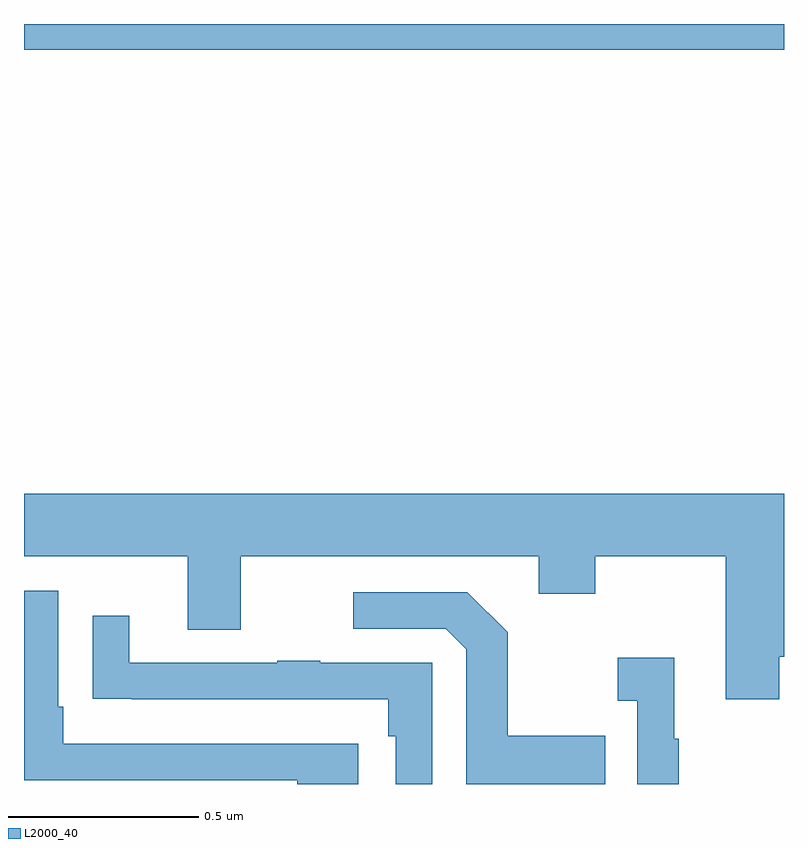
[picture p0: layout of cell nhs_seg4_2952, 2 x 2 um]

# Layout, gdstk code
import gdstk
lib = gdstk.Library(unit=1e-6, precision=1e-09)
def R(c, l, rs):  # rectangles x0, y0, x1, y1
    for r in rs: c.add(gdstk.rectangle(r[:2], r[2:], *l))
def P(c, l, *ps):  # polygons
    for p in ps: c.add(gdstk.Polygon(p, *l))
L2000_40 = (2000, 40)

nhs_seg4_2952 = lib.new_cell('nhs_seg4_2952')
R(nhs_seg4_2952, L2000_40, [(147,784.832,149,784.9)])
P(nhs_seg4_2952, L2000_40, [(148.987,783.235),(149,783.235),(149,783.664),(147,783.664),(147,783.5),(147.431,783.5),(147.431,783.306),(147.571,783.306),(147.571,783.5),(148.355,783.5),(148.355,783.401),(148.503,783.401),(148.503,783.5),(148.847,783.5),(148.847,783.123),(148.987,783.123)],
  [(147.88,783.006),(147.103,783.006),(147.103,783.103),(147.09,783.103),(147.09,783.408),(147,783.408),(147,782.91),(147.719,782.91),(147.719,782.9),(147.88,782.9)],
  [(148.529,783.027),(148.273,783.027),(148.273,783.299),(148.167,783.405),(147.867,783.405),(147.867,783.309),(148.11,783.309),(148.164,783.255),(148.164,782.9),(148.529,782.9)],
  [(148.074,783.219),(147.779,783.219),(147.779,783.224),(147.667,783.224),(147.667,783.219),(147.277,783.219),(147.277,783.343),(147.181,783.343),(147.181,783.124),(147.283,783.124),(147.283,783.123),(147.958,783.123),(147.958,783.026),(147.978,783.026),(147.978,782.9),(148.074,782.9)],
  [(148.723,783.019),(148.711,783.019),(148.711,783.232),(148.563,783.232),(148.563,783.119),(148.614,783.119),(148.614,782.9),(148.723,782.9)])

lib.write_gds('nhs_seg4_2952.gds')
